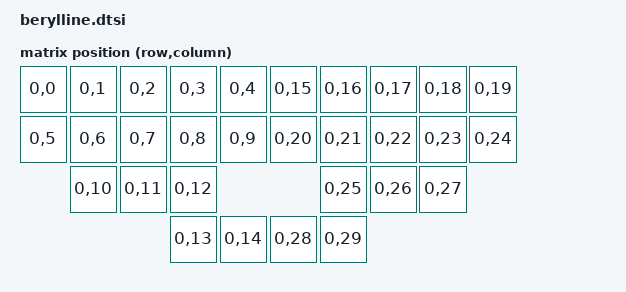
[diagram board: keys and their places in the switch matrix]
/*
 * Copyright (c) 2020 The ZMK Contributors
 *
 * SPDX-License-Identifier: MIT
 */

#include <dt-bindings/zmk/matrix_transform.h>
#define ZMK_MOUSE_DEFAULT_MOVE_VAL 1500  // 600
#define ZMK_MOUSE_DEFAULT_SCRL_VAL 20    // 10

#include <dt-bindings/zmk/mouse.h>
#include <behaviors/mouse_keys.dtsi>

&mmv {
    acceleration-exponent = <1>;      // 1
    time-to-max-speed-ms = <500>;     // 300
    delay-ms = <0>;                   // 0
};

&msc {
    acceleration-exponent = <1>;      // 0
    time-to-max-speed-ms = <40>;      // 300
    delay-ms = <0>;                   // 0
};

/ {
    chosen {
        zmk,kscan = &kscan_faceup;
        zmk,matrix_transform = &default_transform;
    };

    default_transform: keymap_transform_0 {
        compatible = "zmk,matrix-transform";
        columns = <30>;
        rows = <1>;
        map = <
            RC(0,0)  RC(0,1)  RC(0,2)  RC(0,3)  RC(0,4)     RC(0,15)  RC(0,16)  RC(0,17)  RC(0,18)  RC(0,19)
            RC(0,5)  RC(0,6)  RC(0,7)  RC(0,8)  RC(0,9)     RC(0,20)  RC(0,21)  RC(0,22)  RC(0,23)  RC(0,24)
                     RC(0,10) RC(0,11) RC(0,12)                       RC(0,25)  RC(0,26)  RC(0,27)
                                       RC(0,13) RC(0,14)    RC(0,28)  RC(0,29)
        >;
    };

    /omit-if-no-ref/ kscan_faceup: kscan_0 {
        compatible = "zmk,kscan-gpio-direct";
        label = "KSCAN0";
    };

    /omit-if-no-ref/ kscan_facedown: kscan_1 {
        compatible = "zmk,kscan-gpio-direct";
        label = "KSCAN1";
    };
};
